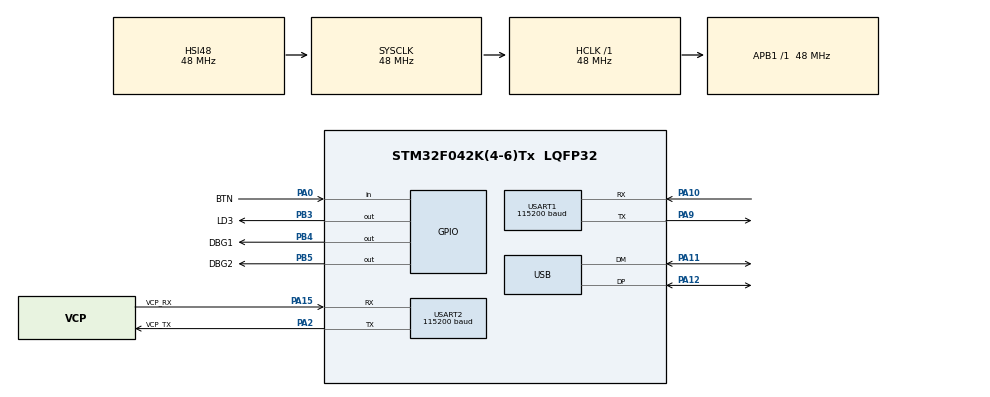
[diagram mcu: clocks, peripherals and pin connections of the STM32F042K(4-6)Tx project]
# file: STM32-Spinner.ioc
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Mcu.Family=STM32F0
Mcu.Name=STM32F042K(4-6)Tx
Mcu.Package=LQFP32
NVIC.TIM1_BRK_UP_TRG_COM_IRQn=true\:0\:0\:false\:false\:true\:true\:true
NVIC.USART1_IRQn=true\:0\:0\:false\:false\:true\:true\:true
NVIC.USB_IRQn=true\:0\:0\:false\:false\:true\:false\:true
PA0.GPIO_Label=BTN
PA0.GPIO_PuPd=GPIO_PULLUP
PA0.Signal=GPIO_Input
PA10.Mode=Asynchronous
PA10.Signal=USART1_RX
PA11.Mode=Device
PA11.Signal=USB_DM
PA12.Mode=Device
PA12.Signal=USB_DP
PA13.GPIO_Label=SWDIO
PA13.Mode=Serial_Wire
PA13.Signal=SYS_SWDIO
PA14.GPIO_Label=SWCLK
PA14.Mode=Serial_Wire
PA14.Signal=SYS_SWCLK
PA15.GPIO_Label=VCP_RX
PA15.Mode=Asynchronous
PA15.Signal=USART2_RX
PA2.GPIO_Label=VCP_TX
PA2.Mode=Asynchronous
PA2.Signal=USART2_TX
PA9.Mode=Asynchronous
PA9.Signal=USART1_TX
PB3.GPIO_Label=LD3
PB3.Signal=GPIO_Output
PB4.GPIO_Label=DBG1
PB4.Signal=GPIO_Output
PB5.GPIO_Label=DBG2
PB5.Signal=GPIO_Output
PF0-OSC_IN.GPIO_Label=MCO
PF0-OSC_IN.Mode=HSE-External-Clock-Source
PF0-OSC_IN.Signal=RCC_OSC_IN
ProjectManager.HeapSize=0x200
ProjectManager.StackSize=0x400
ProjectManager.TargetToolchain=MDK-ARM V5.32
RCC.AHBFreq_Value=48000000
RCC.APB1Freq_Value=48000000
RCC.APB1TimFreq_Value=48000000
RCC.HCLKFreq_Value=48000000
RCC.PLLSourceVirtual=RCC_PLLSOURCE_HSI48
RCC.SYSCLKFreq_VALUE=48000000
RCC.SYSCLKSource=RCC_SYSCLKSOURCE_HSI48
TIM1.Period=9999
TIM1.Prescaler=47
USART1.BaudRate=115200
USART1.VirtualMode-Asynchronous=VM_ASYNC
USART2.BaudRate=115200
USART2.VirtualMode-Asynchronous=VM_ASYNC
USB_DEVICE.CLASS_NAME_FS=HID
USB_DEVICE.HID_FS_BINTERVAL=2
USB_DEVICE.MANUFACTURER_STRING=Spinner
USB_DEVICE.VirtualMode=Hid
USB_DEVICE.VirtualModeFS=Hid_FS
VP_TIM1_VS_ClockSourceINT.Mode=Internal
VP_USB_DEVICE_VS_USB_DEVICE_HID_FS.Mode=HID_FS
board=NUCLEO-F042K6

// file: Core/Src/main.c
/* USER CODE BEGIN Header */
/**
  ******************************************************************************
  * @file           : main.c
  * @brief          : Main program body
  ******************************************************************************
  * @attention
  *
  * <h2><center>&copy; Copyright (c) 2023 STMicroelectronics.
  * All rights reserved.</center></h2>
  *
  * This software component is licensed by ST under Ultimate Liberty license
  * SLA0044, the "License"; You may not use this file except in compliance with
  * the License. You may obtain a copy of the License at:
  *                             www.st.com/SLA0044
  *
  ******************************************************************************
  */
/* USER CODE END Header */
#include "main.h"
#include "usb_device.h"

/* USER CODE BEGIN Includes */
#include "usbd_hid.h"
/* USER CODE END Includes */

TIM_HandleTypeDef htim1;

UART_HandleTypeDef huart1;
UART_HandleTypeDef huart2;

void SystemClock_Config(void);
static void MX_GPIO_Init(void);
static void MX_USART1_UART_Init(void);
static void MX_USART2_UART_Init(void);
static void MX_TIM1_Init(void);
/* USER CODE BEGIN PFP */
volatile int8_t spinner_steps;
volatile unsigned int timer_fired;
volatile uint8_t spinner_data[64];
unsigned int spinner_data_idx;

/* USER CODE END PFP */

/* USER CODE BEGIN 0 */

/* Gets spinner steps and returns mouse steps */
int8_t compute_steps(int8_t steps)
{
	int8_t sign = steps > 0 ? 1 : -1;
	int8_t asteps = 0;
	int i;

	for(i=0; i<steps * sign; i++){
		asteps += i;
	}

	return sign * asteps;
}

/* Alternative implemenetation with dedicated acceleration map */
int8_t compute_steps2(int8_t steps)
{
  unsigned int speed = 2;
  /* V1 */
  //static const int8_t stepsmap[10] = {1, 2, 3, 5, 8, 12, 18, 22, 28, 35};
  /* V2 */
  //static const int8_t stepsmap[10] = {1, 2, 3, 5, 7, 10, 14, 18, 25, 35};
  /* V3 */
  static const int8_t stepsmap[10] = {1, 2, 3, 5, 7, 10, 14, 18, 24, 30};

	int8_t sign = steps > 0 ? 1 : -1;
	int8_t index = (sign * steps) - 1;

	if(steps == 0)
		return 0;

  if(index > 9)
    return speed * 40;

  /* Log data for debugging */
  spinner_data[spinner_data_idx++] = sign * steps;
  spinner_data_idx &= (64 - 1);

  return speed * sign * stepsmap[index];
}

/* USER CODE END 0 */

int main(void)
{
  /* USER CODE BEGIN 1 */
  extern USBD_HandleTypeDef hUsbDeviceFS;
  uint8_t HID_Buffer[4] = {0, 1, 0, 0};
  /* USER CODE END 1 */

  /* MCU Configuration--------------------------------------------------------*/

  /* Reset of all peripherals, Initializes the Flash interface and the Systick. */
  HAL_Init();

  /* Configure the system clock */
  SystemClock_Config();

  /* Initialize all configured peripherals */
  MX_GPIO_Init();
  MX_USART1_UART_Init();
  MX_USART2_UART_Init();
  MX_USB_DEVICE_Init();
  MX_TIM1_Init();
  /* USER CODE BEGIN 2 */

  /* Configure UART1 to run in interrpt mode */
  SET_BIT(huart1.Instance->CR3, USART_CR3_EIE);
  SET_BIT(huart1.Instance->CR1, USART_CR1_PEIE | USART_CR1_RXNEIE);

  /* Start Timer */
  HAL_TIM_Base_Start_IT(&htim1);

  /* USER CODE END 2 */

  /* Infinite loop */
  /* USER CODE BEGIN WHILE */
	GPIO_PinState buttonState;
	GPIO_PinState buttonOldState = GPIO_PIN_SET;

  while (1)
  {
    /* USER CODE END WHILE */

    /* USER CODE BEGIN 3 */
    spinner_steps = 0;

    /* Wait for timer and read button */
    while(timer_fired == 0){
      buttonState = HAL_GPIO_ReadPin(BTN_GPIO_Port, BTN_Pin);
      //HAL_GPIO_WritePin(LD3_GPIO_Port, LD3_Pin, buttonState == GPIO_PIN_RESET ? GPIO_PIN_SET : GPIO_PIN_RESET);
    }
    timer_fired = 0;

    if(buttonState == GPIO_PIN_RESET)
      HID_Buffer[0] = 1;
    else
      HID_Buffer[0] = 0;

    /* If there's data from spinner or button compute and send USB report */
    if(spinner_steps || (buttonState != buttonOldState)){
      buttonOldState = buttonState;
      HID_Buffer[1] = compute_steps2(spinner_steps);
      USBD_HID_SendReport(&hUsbDeviceFS, HID_Buffer, 4);
      HAL_GPIO_TogglePin(LD3_GPIO_Port, LD3_Pin);
    }
	}
  /* USER CODE END 3 */
}

void SystemClock_Config(void)
{
  RCC_OscInitTypeDef RCC_OscInitStruct = {0};
  RCC_ClkInitTypeDef RCC_ClkInitStruct = {0};
  RCC_PeriphCLKInitTypeDef PeriphClkInit = {0};

  /** Initializes the RCC Oscillators according to the specified parameters
  * in the RCC_OscInitTypeDef structure.
  */
  RCC_OscInitStruct.OscillatorType = RCC_OSCILLATORTYPE_HSI48;
  RCC_OscInitStruct.HSI48State = RCC_HSI48_ON;
  RCC_OscInitStruct.PLL.PLLState = RCC_PLL_NONE;
  if (HAL_RCC_OscConfig(&RCC_OscInitStruct) != HAL_OK)
  {
    Error_Handler();
  }
  /** Initializes the CPU, AHB and APB buses clocks
  */
  RCC_ClkInitStruct.ClockType = RCC_CLOCKTYPE_HCLK|RCC_CLOCKTYPE_SYSCLK
                              |RCC_CLOCKTYPE_PCLK1;
  RCC_ClkInitStruct.SYSCLKSource = RCC_SYSCLKSOURCE_HSI48;
  RCC_ClkInitStruct.AHBCLKDivider = RCC_SYSCLK_DIV1;
  RCC_ClkInitStruct.APB1CLKDivider = RCC_HCLK_DIV1;

  if (HAL_RCC_ClockConfig(&RCC_ClkInitStruct, FLASH_LATENCY_1) != HAL_OK)
  {
    Error_Handler();
  }
  PeriphClkInit.PeriphClockSelection = RCC_PERIPHCLK_USB|RCC_PERIPHCLK_USART1;
  PeriphClkInit.Usart1ClockSelection = RCC_USART1CLKSOURCE_PCLK1;
  PeriphClkInit.UsbClockSelection = RCC_USBCLKSOURCE_HSI48;

  if (HAL_RCCEx_PeriphCLKConfig(&PeriphClkInit) != HAL_OK)
  {
    Error_Handler();
  }
}

static void MX_TIM1_Init(void)
{

  TIM_ClockConfigTypeDef sClockSourceConfig = {0};
  TIM_MasterConfigTypeDef sMasterConfig = {0};

  htim1.Instance = TIM1;
  htim1.Init.Prescaler = 47;
  htim1.Init.CounterMode = TIM_COUNTERMODE_UP;
  htim1.Init.Period = 9999;
  htim1.Init.ClockDivision = TIM_CLOCKDIVISION_DIV1;
  htim1.Init.RepetitionCounter = 0;
  htim1.Init.AutoReloadPreload = TIM_AUTORELOAD_PRELOAD_DISABLE;
  if (HAL_TIM_Base_Init(&htim1) != HAL_OK)
  {
    Error_Handler();
  }
  sClockSourceConfig.ClockSource = TIM_CLOCKSOURCE_INTERNAL;
  if (HAL_TIM_ConfigClockSource(&htim1, &sClockSourceConfig) != HAL_OK)
  {
    Error_Handler();
  }
  sMasterConfig.MasterOutputTrigger = TIM_TRGO_RESET;
  sMasterConfig.MasterSlaveMode = TIM_MASTERSLAVEMODE_DISABLE;
  if (HAL_TIMEx_MasterConfigSynchronization(&htim1, &sMasterConfig) != HAL_OK)
  {
    Error_Handler();
  }

}

static void MX_USART1_UART_Init(void)
{

  huart1.Instance = USART1;
  huart1.Init.BaudRate = 115200;
  huart1.Init.WordLength = UART_WORDLENGTH_8B;
  huart1.Init.StopBits = UART_STOPBITS_1;
  huart1.Init.Parity = UART_PARITY_NONE;
  huart1.Init.Mode = UART_MODE_TX_RX;
  huart1.Init.HwFlowCtl = UART_HWCONTROL_NONE;
  huart1.Init.OverSampling = UART_OVERSAMPLING_16;
  huart1.Init.OneBitSampling = UART_ONE_BIT_SAMPLE_DISABLE;
  huart1.AdvancedInit.AdvFeatureInit = UART_ADVFEATURE_NO_INIT;
  if (HAL_UART_Init(&huart1) != HAL_OK)
  {
    Error_Handler();
  }

}

static void MX_USART2_UART_Init(void)
{

  huart2.Instance = USART2;
  huart2.Init.BaudRate = 115200;
  huart2.Init.WordLength = UART_WORDLENGTH_8B;
  huart2.Init.StopBits = UART_STOPBITS_1;
  huart2.Init.Parity = UART_PARITY_NONE;
  huart2.Init.Mode = UART_MODE_TX_RX;
  huart2.Init.HwFlowCtl = UART_HWCONTROL_NONE;
  huart2.Init.OverSampling = UART_OVERSAMPLING_16;
  huart2.Init.OneBitSampling = UART_ONE_BIT_SAMPLE_DISABLE;
  huart2.AdvancedInit.AdvFeatureInit = UART_ADVFEATURE_NO_INIT;
  if (HAL_UART_Init(&huart2) != HAL_OK)
  {
    Error_Handler();
  }

}

static void MX_GPIO_Init(void)
{
  GPIO_InitTypeDef GPIO_InitStruct = {0};

  /* GPIO Ports Clock Enable */
  __HAL_RCC_GPIOF_CLK_ENABLE();
  __HAL_RCC_GPIOA_CLK_ENABLE();
  __HAL_RCC_GPIOB_CLK_ENABLE();

  /*Configure GPIO pin Output Level */
  HAL_GPIO_WritePin(GPIOB, LD3_Pin|DBG1_Pin|DBG2_Pin, GPIO_PIN_RESET);

  /*Configure GPIO pin : BTN_Pin */
  GPIO_InitStruct.Pin = BTN_Pin;
  GPIO_InitStruct.Mode = GPIO_MODE_INPUT;
  GPIO_InitStruct.Pull = GPIO_PULLUP;
  HAL_GPIO_Init(BTN_GPIO_Port, &GPIO_InitStruct);

  /*Configure GPIO pins : LD3_Pin DBG1_Pin DBG2_Pin */
  GPIO_InitStruct.Pin = LD3_Pin|DBG1_Pin|DBG2_Pin;
  GPIO_InitStruct.Mode = GPIO_MODE_OUTPUT_PP;
  GPIO_InitStruct.Pull = GPIO_NOPULL;
  GPIO_InitStruct.Speed = GPIO_SPEED_FREQ_LOW;
  HAL_GPIO_Init(GPIOB, &GPIO_InitStruct);

}

/* USER CODE BEGIN 4 */
/* Not using HAL for UART reception. Leave empty */
void HAL_UART_RxCpltCallback(UART_HandleTypeDef* huart){};

/* Notify timer period is over */
void HAL_TIM_PeriodElapsedCallback(TIM_HandleTypeDef* htim)
{
	timer_fired = 1;
	HAL_GPIO_TogglePin(DBG1_GPIO_Port, DBG1_Pin);
}

/* USER CODE END 4 */

void Error_Handler(void)
{
  __disable_irq();
  while (1)
  {
  }
}

/************************ (C) COPYRIGHT STMicroelectronics *****END OF FILE****/
